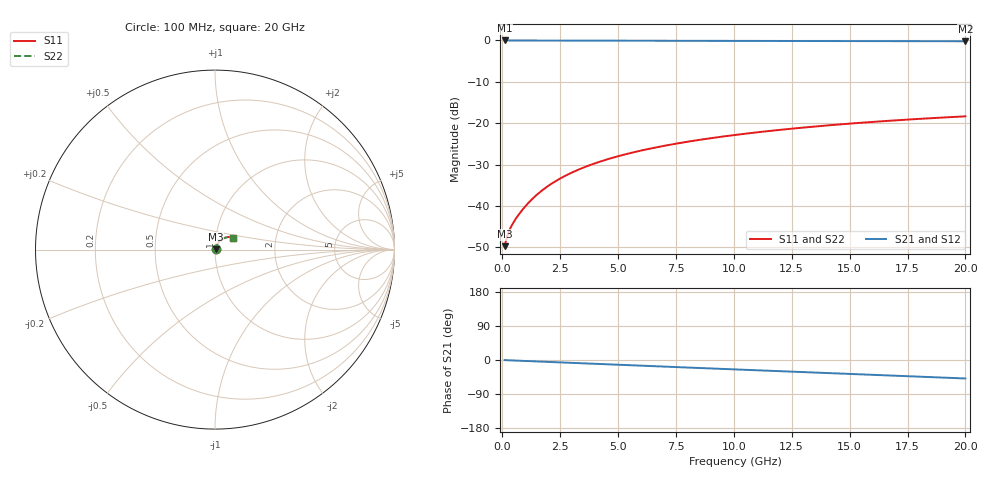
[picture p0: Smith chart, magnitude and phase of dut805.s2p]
! Touchstone file exported from HFSS 2026.1.0
!  File:  C:/ffzhzh/LocalFiles/Ansys_Project_Files/temp_train_BSMRDL_805_1783169792_18472.aedt
!  Generated:  08:57:43 PM Jul  4, 2026
!  Design:  BSMRDL
!  Project:  temp_train_BSMRDL_805_1783169792_18472
! Variables:
!  h_bsmrdl = 4.05um
!  h_ox = 20um
!  h_rdl = 5um
!  h_sub = 80um
!  h_tmrdl = 5um
!  h_tsv = 80um
!  h_via = 3um
!  l_bsmrdl = 853.88um
!  l_sub = 1253.88um
!  l_tmrdl = 200um
!  m_sub = 200um
!  pitch = 36.81um
!  r_tsv = 6um
!  s_tmrdl = 10um
!  w_bsmrdl = 28.7um
!  w_sub = 500um
!  w_tmrdl = 12um
!  x_tsv_center1 = 206um
!  x_tsv_center2 = 1088.58um
!  x_tsv_center3 = 1300.58um
!  x_tsv_center4 = 2183.16um
!  x_tsv_center5 = 2395.16um
!  x_tsv_center6 = 3277.74um
# GHz S MA R 50.000000
! Terminal data exported
! Port[1] = BSM_RDL1_1_T1
! Port[2] = BSM_RDL1_1_T2
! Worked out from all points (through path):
!   200 points, 100 MHz to 20 GHz, reference 50 ohm
!   highest |S21| = -0.03 dB at 100 MHz (marker M1); lowest = -0.2 dB at 20 GHz (marker M2)
!   group delay of S21, straight-line fit = 6.75 ps
!   lowest |S11| = -49.7 dB at 100 MHz (marker M3), VSWR 1.01, Z = 50.3 + j0.142 ohm
!   |S11| at or under -10 dB: start of sweep to end of sweep
!   |S22| runs from -49.7 to -18.3 dB; largest |S21 - S12| = 3.7e-15
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0.1  0.003281 25.5  0.997 -0.3  0.997 -0.3  0.003281 25.5
! Gamma 0 0 0 0
! Port Impedance 50 0 50 0
0.2  0.004225 36.3  0.9966 -0.6  0.9966 -0.6  0.004225 36.3
0.3  0.005058 41.5  0.9963 -0.8  0.9963 -0.8  0.005058 41.5
0.4  0.005783 45.3  0.996 -1.1  0.996 -1.1  0.005783 45.3
0.6  0.00714 51.6  0.9957 -1.6  0.9957 -1.6  0.007141 51.6
0.8  0.008527 56.4  0.9955 -2.1  0.9955 -2.1  0.008528 56.3
1.2  0.01146 62.5  0.9952 -3.1  0.9952 -3.1  0.01147 62.5
1.4  0.01299 64.3  0.995 -3.6  0.995 -3.6  0.01299 64.3
1.7  0.0153 66.2  0.9948 -4.3  0.9948 -4.3  0.0153 66.2
2.2  0.01918 67.7  0.9943 -5.6  0.9943 -5.6  0.01919 67.7
2.8  0.0238 68.2  0.9937 -7.1  0.9937 -7.1  0.02381 68.2
3.5  0.02909 67.8  0.9929 -8.8  0.9929 -8.8  0.0291 67.8
4.2  0.03424 66.9  0.992 -10.6  0.992 -10.6  0.03425 66.9
5  0.03994 65.6  0.9909 -12.5  0.9909 -12.5  0.03995 65.5
5.9  0.04614 63.8  0.9897 -14.7  0.9897 -14.7  0.04615 63.8
6.8  0.05211 62.0  0.9886 -17.0  0.9886 -17.0  0.05213 61.9
8.3  0.06163 58.9  0.9867 -20.6  0.9867 -20.6  0.06167 58.8
10.1  0.07244 55.2  0.9846 -25.0  0.9846 -25.0  0.07249 55.0
11.7  0.08154 51.8  0.9829 -28.8  0.9829 -28.8  0.0816 51.6
13.4  0.09071 48.2  0.9812 -32.9  0.9812 -32.9  0.09079 48.0
16.7  0.107 41.0  0.9779 -40.9  0.9779 -40.9  0.1071 40.8
20  0.121 33.8  0.975 -48.8  0.975 -48.8  0.1212 33.5
